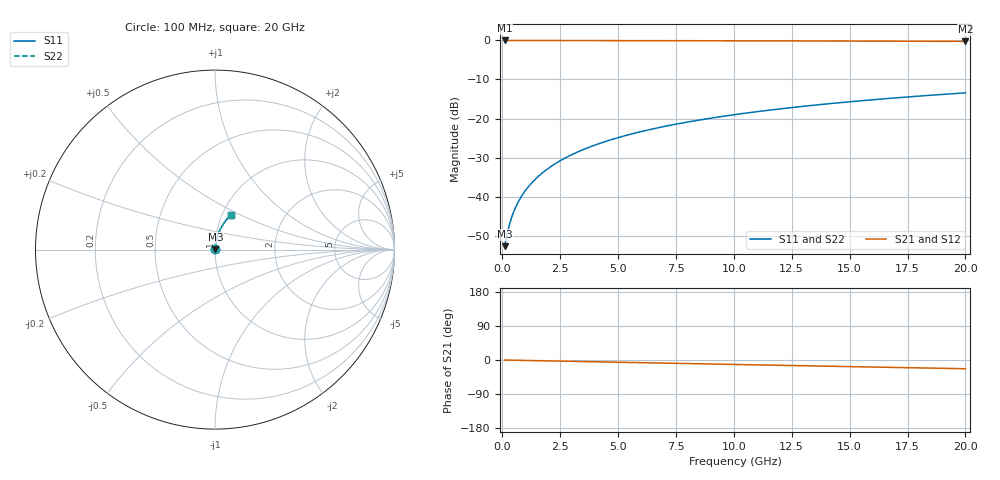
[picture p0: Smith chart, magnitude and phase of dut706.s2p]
! Touchstone file exported from HFSS 2026.1.0
!  File:  C:/ffzhzh/LocalFiles/Ansys_Project_Files/temp_train_BSMRDL_706_1783168126_22436.aedt
!  Generated:  08:30:00 PM Jul  4, 2026
!  Design:  BSMRDL
!  Project:  temp_train_BSMRDL_706_1783168126_22436
! Variables:
!  h_bsmrdl = 2.71um
!  h_ox = 20um
!  h_rdl = 5um
!  h_sub = 80um
!  h_tmrdl = 5um
!  h_tsv = 80um
!  h_via = 3um
!  l_bsmrdl = 310.78um
!  l_sub = 710.78um
!  l_tmrdl = 200um
!  m_sub = 200um
!  pitch = 47.16um
!  r_tsv = 6um
!  s_tmrdl = 10um
!  w_bsmrdl = 24.88um
!  w_sub = 500um
!  w_tmrdl = 12um
!  x_tsv_center1 = 206um
!  x_tsv_center2 = 541.66um
!  x_tsv_center3 = 753.66um
!  x_tsv_center4 = 1089.32um
!  x_tsv_center5 = 1301.32um
!  x_tsv_center6 = 1636.98um
# GHz S MA R 50.000000
! Terminal data exported
! Port[1] = BSM_RDL1_1_T1
! Port[2] = BSM_RDL1_1_T2
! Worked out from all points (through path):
!   200 points, 100 MHz to 20 GHz, reference 50 ohm
!   highest |S21| = -0.02 dB at 100 MHz (marker M1); lowest = -0.3 dB at 20 GHz (marker M2)
!   group delay of S21, straight-line fit = 3.2 ps
!   lowest |S11| = -52.7 dB at 100 MHz (marker M3), VSWR 1.00, Z = 50.2 + j0.129 ohm
!   |S11| at or under -10 dB: start of sweep to end of sweep
!   |S22| runs from -52.7 to -13.4 dB; largest |S21 - S12| = 4.1e-15
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0.1  0.002329 33.4  0.9981 -0.1  0.9981 -0.1  0.002329 33.4
! Gamma 0 0 0 0
! Port Impedance 50 0 50 0
0.2  0.003245 51.3  0.998 -0.3  0.998 -0.3  0.003245 51.3
0.3  0.004309 60.3  0.9979 -0.4  0.9979 -0.4  0.004309 60.3
0.4  0.005404 65.4  0.9978 -0.5  0.9978 -0.5  0.005404 65.4
0.5  0.006501 68.8  0.9977 -0.6  0.9977 -0.6  0.006501 68.8
0.6  0.007597 71.2  0.9976 -0.7  0.9976 -0.7  0.007598 71.2
0.8  0.009793 74.5  0.9975 -1.0  0.9975 -1.0  0.009793 74.5
1.1  0.01311 77.5  0.9974 -1.3  0.9974 -1.3  0.01311 77.5
1.3  0.01534 78.7  0.9973 -1.6  0.9973 -1.6  0.01534 78.7
1.6  0.0187 80.0  0.9972 -1.9  0.9972 -1.9  0.0187 80.0
2.1  0.02433 81.1  0.997 -2.5  0.997 -2.5  0.02433 81.1
2.7  0.0311 81.6  0.9967 -3.2  0.9967 -3.2  0.0311 81.6
3.5  0.04014 81.6  0.9963 -4.2  0.9963 -4.2  0.04014 81.6
4.2  0.04802 81.4  0.9958 -5.0  0.9958 -5.0  0.04802 81.3
5  0.057 80.8  0.9951 -5.9  0.9951 -5.9  0.057 80.8
5.9  0.06704 80.1  0.9943 -7.0  0.9943 -7.0  0.06704 80.0
6.8  0.07702 79.2  0.9933 -8.0  0.9933 -8.0  0.07702 79.2
8.3  0.09347 77.7  0.9915 -9.8  0.9915 -9.8  0.09347 77.7
10.1  0.1129 75.8  0.989 -11.9  0.989 -11.9  0.1129 75.8
13.4  0.1476 72.3  0.9836 -15.7  0.9836 -15.7  0.1476 72.2
16.7  0.181 68.7  0.9773 -19.4  0.9773 -19.4  0.181 68.6
20  0.2131 65.2  0.9703 -23.1  0.9703 -23.1  0.2131 65.1
